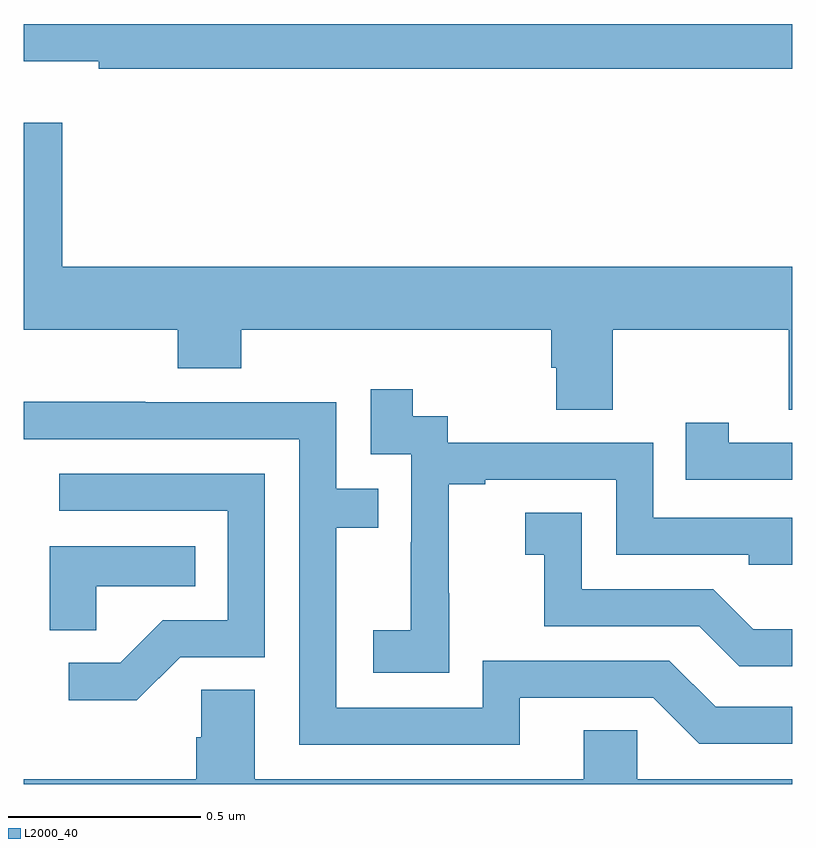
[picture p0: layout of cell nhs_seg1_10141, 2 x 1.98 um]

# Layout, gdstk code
import gdstk
lib = gdstk.Library(unit=1e-6, precision=1e-09)
def P(c, l, *ps):  # polygons
    for p in ps: c.add(gdstk.Polygon(p, *l))
L2000_40 = (2000, 40)

nhs_seg1_10141 = lib.new_cell('nhs_seg1_10141')
P(nhs_seg1_10141, L2000_40, [(239,571.176),(237,571.176),(237,571.079),(237.196,571.079),(237.196,571.06),(239,571.06)],
  [(238.533,570.38),(238.99,570.38),(238.99,570.172),(239,570.172),(239,570.544),(237.1,570.544),(237.1,570.919),(237,570.919),(237,570.38),(237.401,570.38),(237.401,570.281),(237.566,570.281),(237.566,570.38),(238.373,570.38),(238.373,570.282),(238.385,570.282),(238.385,570.172),(238.533,570.172)],
  [(238.107,569.695),(238.106,569.695),(238.106,569.979),(238.201,569.979),(238.201,569.991),(238.542,569.991),(238.542,569.796),(238.887,569.796),(238.887,569.769),(239,569.769),(239,569.892),(238.638,569.892),(238.638,570.087),(238.104,570.087),(238.104,570.156),(238.012,570.156),(238.012,570.226),(237.903,570.226),(237.903,570.057),(238.008,570.057),(238.008,569.828),(238.007,569.828),(238.007,569.599),(237.909,569.599),(237.909,569.489),(238.107,569.489)],
  [(238.291,569.424),(238.638,569.424),(238.758,569.304),(239,569.304),(239,569.4),(238.8,569.4),(238.68,569.52),(238.194,569.52),(238.194,569.397),(237.813,569.397),(237.813,569.866),(237.923,569.866),(237.923,569.967),(237.813,569.967),(237.813,570.192),(237.317,570.192),(237.317,570.194),(237,570.194),(237,570.096),(237.717,570.096),(237.717,569.301),(238.291,569.301)],
  [(239,570.087),(238.834,570.087),(238.834,570.139),(238.723,570.139),(238.723,569.991),(239,569.991)],
  [(237.408,569.529),(237.627,569.529),(237.627,570.006),(237.093,570.006),(237.093,569.91),(237.531,569.91),(237.531,569.625),(237.362,569.625),(237.251,569.514),(237.117,569.514),(237.117,569.417),(237.295,569.417)],
  [(239,569.602),(238.898,569.602),(238.794,569.706),(238.452,569.706),(238.452,569.905),(238.305,569.905),(238.305,569.795),(238.354,569.795),(238.354,569.61),(238.757,569.61),(238.862,569.505),(239,569.505)],
  [(237.189,569.714),(237.446,569.714),(237.446,569.818),(237.068,569.818),(237.068,569.599),(237.189,569.599)],
  [(239,569.212),(238.596,569.212),(238.596,569.339),(238.457,569.339),(238.457,569.212),(237.601,569.212),(237.601,569.444),(237.462,569.444),(237.462,569.321),(237.449,569.321),(237.449,569.212),(237,569.212),(237,569.199),(239,569.199)])

lib.write_gds('nhs_seg1_10141.gds')
